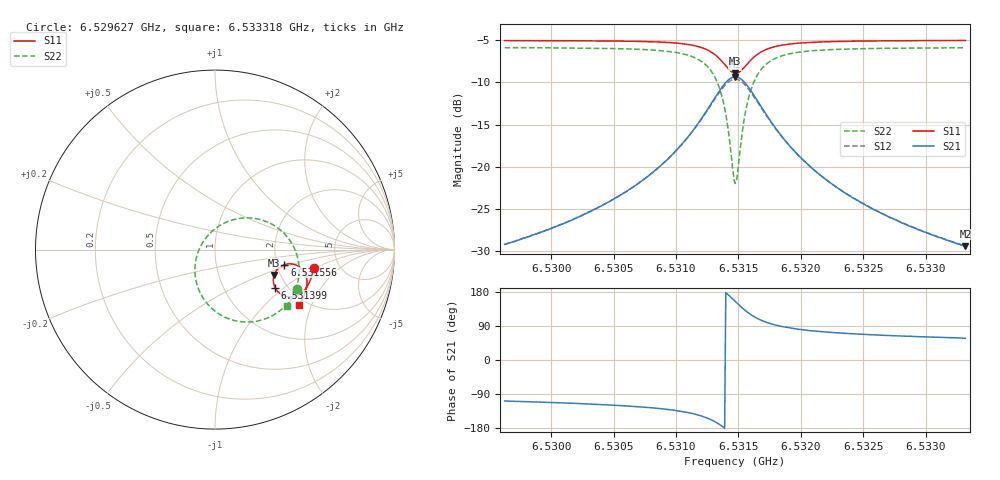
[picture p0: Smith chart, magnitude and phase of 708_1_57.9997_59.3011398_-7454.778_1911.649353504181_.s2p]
#  HZ  S  RI  R  50.00
! Rohde & Schwarz Vector Network Analyzer
! Rohde-Schwarz,ZNB20-2Port,1311601062101988,3.16
! Created: UTC 3/21/2024, 1:22:03 AM
! freq[Hz]  re:S11  im:S11  re:S21  im:S21  re:S12  im:S12  re:S22  im:S22
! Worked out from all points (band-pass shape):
!   401 points, 6.529627 GHz to 6.533318 GHz, reference 50 ohm
!   highest |S21| = -9.33 dB at 6.531473 GHz (marker M1); lowest = -29.4 dB at 6.533318 GHz (marker M2)
!   |S21| within 3 dB of the highest: 6.53129 GHz to 6.531659 GHz (368.9 kHz wide, 0.00565 % of centre)
!   lowest |S11| = -8.9 dB at 6.531473 GHz (marker M3), VSWR 2.12, Z = 92.8 - j30.1 ohm
!   |S11| at or under -10 dB: nowhere
!   |S22| runs from -22.0 to -5.9 dB; largest |S21 - S12| = 0.014
!   S11 on the Smith chart (normalised r, x): 6.529627 GHz: 3.24, -0.96; 6.531399 GHz: 1.73, -0.88; 6.531556 GHz: 2.20, -0.44; 6.533318 GHz: 1.82, -1.64
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6.529627e9  0.551 -0.1018  -0.0108 -0.0328  -0.0115 -0.0326  0.4585 -0.2211
6.5302453e9  0.5373 -0.1541  -0.0219 -0.0463  -0.0232 -0.0458  0.4217 -0.2796
6.530596e9  0.5235 -0.1878  -0.0365 -0.0606  -0.0381 -0.0596  0.3835 -0.3218
6.5308636e9  0.5045 -0.2183  -0.0609 -0.0783  -0.0633 -0.0764  0.3285 -0.3631
6.5310851e9  0.4723 -0.2479  -0.1092 -0.0981  -0.112 -0.0939  0.2324 -0.3988
6.531242e9  0.4215 -0.2633  -0.1882 -0.0995  -0.1898 -0.0911  0.0898 -0.39
6.5313343e9  0.3711 -0.2508  -0.2652 -0.0609  -0.2624 -0.0493  -0.0358 -0.3095
6.5313712e9  0.3493 -0.2334  -0.2972 -0.0243  -0.2911 -0.0128  -0.0823 -0.2421
6.5313989e9  0.3354 -0.2136  -0.3158 0.0136  -0.3067 0.024  -0.1055 -0.1755
6.5314542e9  0.3254 -0.1603  -0.3214 0.1096  -0.3083 0.1146  -0.0956 -0.0171
6.5314727e9  0.3297 -0.1413  -0.3106 0.1425  -0.2972 0.1452  -0.0716 0.0345
6.5314911e9  0.3379 -0.1236  -0.2933 0.1726  -0.2803 0.173  -0.0381 0.0803
6.5315281e9  0.3634 -0.0962  -0.2448 0.2188  -0.2343 0.2156  0.0493 0.1467
6.5315557e9  0.3865 -0.0841  -0.203 0.2381  -0.1948 0.2336  0.1214 0.1711
6.5315834e9  0.4096 -0.0793  -0.1625 0.2456  -0.1564 0.2409  0.1902 0.1767
6.5316203e9  0.4368 -0.0812  -0.1152 0.2423  -0.1113 0.2381  0.2685 0.1624
6.5317126e9  0.4814 -0.105  -0.0393 0.2055  -0.0378 0.2033  0.3907 0.0844
6.5318511e9  0.5067 -0.1448  0.00467 0.1501  0.00603 0.1493  0.455 -0.0259
6.532091e9  0.5126 -0.1922  0.0219 0.0952  0.0231 0.0948  0.4682 -0.1378
6.5324047e9  0.505 -0.232  0.0232 0.0619  0.0243 0.0615  0.4529 -0.213
6.5327093e9  0.4942 -0.2611  0.0215 0.0452  0.0224 0.0449  0.4347 -0.2569
6.5333183e9  0.4695 -0.3081  0.0182 0.0284  0.0187 0.0281  0.3993 -0.3146
